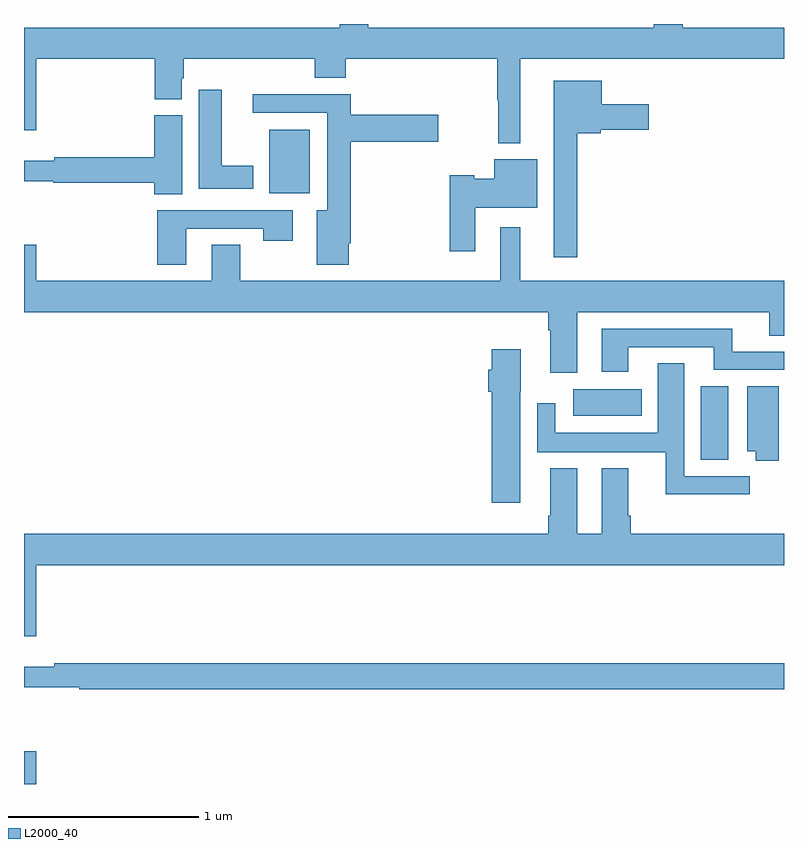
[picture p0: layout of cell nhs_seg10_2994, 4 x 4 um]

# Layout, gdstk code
import gdstk
lib = gdstk.Library(unit=1e-6, precision=1e-09)
def R(c, l, rs):  # rectangles x0, y0, x1, y1
    for r in rs: c.add(gdstk.rectangle(r[:2], r[2:], *l))
def P(c, l, *ps):  # polygons
    for p in ps: c.add(gdstk.Polygon(p, *l))
L2000_40 = (2000, 40)

nhs_seg10_2994 = lib.new_cell('nhs_seg10_2994')
R(nhs_seg10_2994, L2000_40, [(273,1296.5,273.064,1296.673), (276.563,1298.206,276.706,1298.594), (275.892,1298.438,276.25,1298.578), (274.292,1299.608,274.504,1299.943)])
P(nhs_seg10_2994, L2000_40, [(275.611,1300.316),(277,1300.316),(277,1300.48),(276.467,1300.48),(276.467,1300.5),(276.314,1300.5),(276.314,1300.48),(274.812,1300.48),(274.812,1300.5),(274.661,1300.5),(274.661,1300.48),(273,1300.48),(273,1299.942),(273.064,1299.942),(273.064,1300.316),(273.689,1300.316),(273.689,1300.105),(273.829,1300.105),(273.829,1300.215),(273.842,1300.215),(273.842,1300.316),(274.529,1300.316),(274.529,1300.217),(274.694,1300.217),(274.694,1300.316),(275.49,1300.316),(275.49,1300.1),(275.497,1300.1),(275.497,1299.872),(275.611,1299.872)],
  [(275.911,1299.926),(276.036,1299.926),(276.036,1299.944),(276.289,1299.944),(276.289,1300.078),(276.04,1300.078),(276.04,1300.201),(275.789,1300.201),(275.789,1299.273),(275.911,1299.273)],
  [(274.207,1299.754),(274.042,1299.754),(274.042,1300.153),(273.92,1300.153),(273.92,1299.632),(274.207,1299.632)],
  [(274.708,1299.346),(274.721,1299.346),(274.721,1299.881),(275.179,1299.881),(275.179,1300.023),(274.721,1300.023),(274.721,1300.13),(274.203,1300.13),(274.203,1300.032),(274.595,1300.032),(274.595,1299.52),(274.541,1299.52),(274.541,1299.234),(274.708,1299.234)],
  [(273.832,1300.02),(273.686,1300.02),(273.686,1299.8),(273.16,1299.8),(273.16,1299.781),(273,1299.781),(273,1299.672),(273.153,1299.672),(273.153,1299.664),(273.686,1299.664),(273.686,1299.604),(273.832,1299.604)],
  [(275.374,1299.533),(275.701,1299.533),(275.701,1299.787),(275.474,1299.787),(275.474,1299.686),(275.37,1299.686),(275.37,1299.704),(275.24,1299.704),(275.24,1299.303),(275.374,1299.303)],
  [(273.853,1299.423),(274.258,1299.423),(274.258,1299.36),(274.414,1299.36),(274.414,1299.519),(273.701,1299.519),(273.701,1299.234),(273.853,1299.234)],
  [(275.911,1298.984),(276.923,1298.984),(276.923,1298.86),(277,1298.86),(277,1299.148),(275.611,1299.148),(275.611,1299.43),(275.507,1299.43),(275.507,1299.148),(274.137,1299.148),(274.137,1299.338),(273.989,1299.338),(273.989,1299.148),(273.064,1299.148),(273.064,1299.337),(273,1299.337),(273,1298.984),(275.759,1298.984),(275.759,1298.888),(275.771,1298.888),(275.771,1298.664),(275.911,1298.664)],
  [(276.181,1298.799),(276.629,1298.799),(276.629,1298.679),(277,1298.679),(277,1298.775),(276.728,1298.775),(276.728,1298.895),(276.041,1298.895),(276.041,1298.67),(276.181,1298.67)],
  [(275.611,1298.565),(275.614,1298.565),(275.614,1298.788),(275.462,1298.788),(275.462,1298.679),(275.444,1298.679),(275.444,1298.565),(275.462,1298.565),(275.462,1297.98),(275.611,1297.98)],
  [(276.82,1298.121),(276.475,1298.121),(276.475,1298.714),(276.335,1298.714),(276.335,1298.35),(275.796,1298.35),(275.796,1298.503),(275.7,1298.503),(275.7,1298.246),(276.377,1298.246),(276.377,1298.024),(276.82,1298.024)],
  [(276.973,1298.594),(276.806,1298.594),(276.806,1298.252),(276.851,1298.252),(276.851,1298.202),(276.973,1298.202)],
  [(273.064,1297.652),(277,1297.652),(277,1297.816),(276.194,1297.816),(276.194,1297.912),(276.181,1297.912),(276.181,1298.161),(276.041,1298.161),(276.041,1297.816),(275.911,1297.816),(275.911,1298.161),(275.771,1298.161),(275.771,1297.912),(275.759,1297.912),(275.759,1297.816),(273,1297.816),(273,1297.278),(273.064,1297.278)],
  [(277,1297.136),(273.16,1297.136),(273.16,1297.117),(273,1297.117),(273,1297.008),(273.29,1297.008),(273.29,1297),(277,1297)])

lib.write_gds('nhs_seg10_2994.gds')
